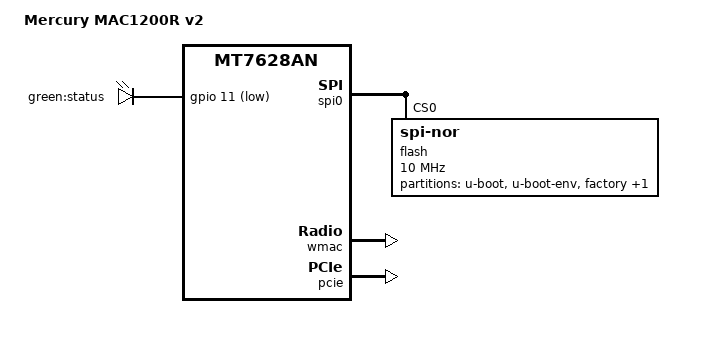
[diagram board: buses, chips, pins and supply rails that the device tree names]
#include "mt7628an.dtsi"

#include <dt-bindings/gpio/gpio.h>
#include <dt-bindings/input/input.h>

/ {
	compatible = "mercury,mac1200r-v2", "mediatek,mt7628an-soc";
	model = "Mercury MAC1200R v2";

	aliases {
		led-boot = &led_status;
		led-failsafe = &led_status;
		led-running = &led_status;
		led-upgrade = &led_status;
	};

	leds {
		compatible = "gpio-leds";

		led_status: status {
			label = "green:status";
			gpios = <&gpio 11 GPIO_ACTIVE_LOW>;
		};
	};
};

&spi0 {
	status = "okay";

	flash@0 {
		compatible = "jedec,spi-nor";
		reg = <0>;
		spi-max-frequency = <10000000>;

		partitions {
			compatible = "fixed-partitions";
			#address-cells = <1>;
			#size-cells = <1>;

			partition@0 {
				label = "u-boot";
				reg = <0x0 0x30000>;
				read-only;
			};

			partition@30000 {
				label = "u-boot-env";
				reg = <0x30000 0x10000>;
				read-only;
			};

			factory: partition@40000 {
				label = "factory";
				reg = <0x40000 0x10000>;
				read-only;
			};

			partition@50000 {
				compatible = "denx,uimage";
				label = "firmware";
				reg = <0x50000 0xfb0000>;
			};
		};
	};
};

&ethernet {
	pinctrl-names = "default";
	mtd-mac-address = <&factory 0x28>;
};

&esw {
	mediatek,portmap = <0x2f>;
};

&wmac {
	status = "okay";
	ralink,mtd-eeprom = <&factory 0x0>;
};

&pcie {
	status = "okay";
};

&pcie0 {
	mt76@0,0 {
		reg = <0x0000 0 0 0 0>;
		mediatek,mtd-eeprom = <&factory 0x8000>;
		ieee80211-freq-limit = <5000000 6000000>;
	};
};
